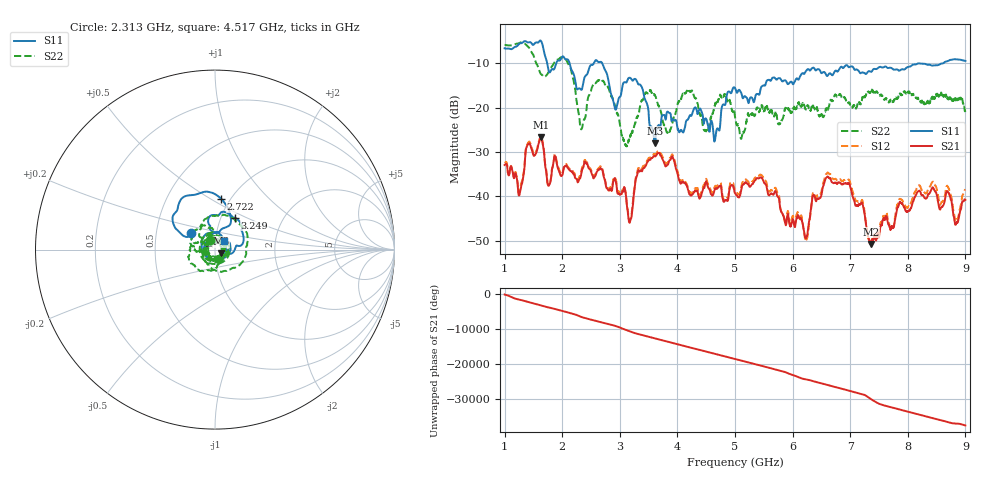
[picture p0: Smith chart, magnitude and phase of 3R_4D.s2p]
!Keysight Technologies N9915A: A.10.33
!Date: Tuesday, 12 May 2020 14:22:14
!Timezone: (UTC+08:00) Perth
!Model: N9915A
!Serial: MY53102697
!GPS Latitude:
!GPS Longitude:
!GPS TimeStamp: 0001-01-01 00:00:00Z
!GPS Seconds Since Last Read: 0
!CHECKSUM:1102834888
!Correction: S11(ON U)S21(ON U)S12(ON U)S22(ON U)
!S2P File: Measurements:S11,S21,S12,S22:
# Hz S DB R 50
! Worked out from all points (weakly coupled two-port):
!   10001 points, 1 GHz to 9 GHz, reference 50 ohm
!   highest |S21| = -26.63 dB at 1.63 GHz (marker M1); lowest = -50.7 dB at 7.357 GHz (marker M2)
!   lowest |S11| = -28.1 dB at 3.609 GHz (marker M3), VSWR 1.08, Z = 53.4 - j2.23 ohm
!   |S11| at or under -10 dB: 1.739 GHz to 1.897 GHz (158.1 MHz wide, 8.7 % of centre); 2.128 GHz to 2.549 GHz (421.5 MHz wide, 18 % of centre); 2.694 GHz to 8.619 GHz (5.925 GHz wide, 105 % of centre)
!   |S22| runs from -28.8 to -5.3 dB; largest |S21 - S12| = 0.044
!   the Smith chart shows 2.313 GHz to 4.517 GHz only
!   S11 on the Smith chart (normalised r, x): 2.313 GHz: 0.75, +0.15; 2.722 GHz: 0.91, +0.56; 3.249 GHz: 1.16, +0.43; 4.517 GHz: 1.10, +0.10
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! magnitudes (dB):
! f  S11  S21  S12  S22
! 1 GHz  -6.7  -32.9  -32.5  -5.9
! 1.267 GHz  -5.5  -39.1  -38.5  -5.4
! 1.63 GHz  -5.0  -26.6  -26.3  -12.5
! 1.767 GHz  -11.8  -37.6  -37.5  -11.9
! 2.075 GHz  -9.2  -33.1  -32.8  -9.4
! 2.313 GHz  -15.8  -35.9  -35.3  -24.3
! 2.334 GHz  -16.0  -34.8  -34.3  -24.9
! 2.722 GHz  -10.9  -35.6  -35.2  -14.2
! 2.922 GHz  -20.4  -36.3  -36.0  -19.9
! 3.249 GHz  -13.6  -39.0  -38.5  -24.2
! 3.609 GHz  -28.1  -31.0  -30.6  -17.2
! 3.667 GHz  -24.0  -30.2  -29.7  -19.5
! 4.226 GHz  -21.7  -39.8  -39.3  -16.4
! 4.517 GHz  -23.2  -37.3  -36.7  -25.0
! 5 GHz  -15.6  -39.3  -38.6  -22.1
! 5.457 GHz  -15.4  -35.8  -35.2  -19.5
! 6.23 GHz  -11.8  -49.4  -50.1  -20.5
! 6.334 GHz  -11.2  -41.4  -41.0  -19.8
! 6.959 GHz  -10.7  -37.1  -36.3  -18.9
! 7.357 GHz  -12.0  -50.7  -51.2  -16.3
! 7.667 GHz  -11.1  -46.4  -46.0  -18.8
! 9 GHz  -9.5  -40.8  -38.5  -21.2
